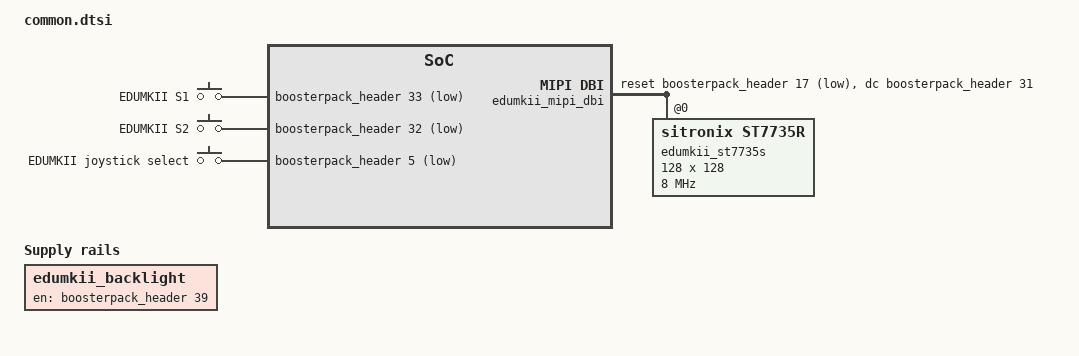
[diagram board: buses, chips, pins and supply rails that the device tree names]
/*
 * BOOSTXL-EDUMKII: 128 x 128 ST7735S screen on SPI (pins 7, 15, 13, 31, 17),
 * backlight on pin 39 (jumper J5 on 2-3), buttons S1 (pin 33), S2 (pin 32)
 * and the joystick press (pin 5). Pin numbers: SLAU599B Tables 2-1 to 2-10.
 * The joystick axes, microphone and accelerometer are analog; the per-board
 * overlays in boards/ add the joystick on that LaunchPad kit's ADC.
 *
 * SPDX-License-Identifier: Apache-2.0
 */

#include <zephyr/dt-bindings/mipi_dbi/mipi_dbi.h>
#include <zephyr/dt-bindings/gpio/gpio.h>
#include <zephyr/dt-bindings/input/input-event-codes.h>

/ {
	chosen {
		zephyr,display = &edumkii_st7735s;
	};

	edumkii_mipi_dbi {
		compatible = "zephyr,mipi-dbi-spi";
		spi-dev = <&boosterpack_spi>;
		dc-gpios = <&boosterpack_header 31 GPIO_ACTIVE_HIGH>;
		reset-gpios = <&boosterpack_header 17 GPIO_ACTIVE_LOW>;
		write-only;
		#address-cells = <1>;
		#size-cells = <0>;

		edumkii_st7735s: st7735s@0 {
			compatible = "sitronix,st7735r";
			reg = <0>;
			mipi-max-frequency = <8000000>;
			mipi-mode = "MIPI_DBI_MODE_SPI_4WIRE";
			width = <128>;
			height = <128>;
			x-offset = <2>;
			y-offset = <3>;
			madctl = <0xc8>;
			colmod = <0x55>;
			vmctr1 = <0x0e>;
			pwctr1 = [a2 02 84];
			pwctr2 = [c5];
			pwctr3 = [0a 00];
			frmctr1 = [01 2c 2d];
			frmctr2 = [01 2c 2d];
			frmctr3 = [01 2c 2d 01 2c 2d];
			gamctrp1 = [02 1c 07 12 37 32 29 2d 29 25 2b 39 00 01 03 10];
			gamctrn1 = [03 1d 07 06 2e 2c 29 2d 2e 2e 37 3f 00 00 02 10];
		};
	};

	edumkii_backlight: backlight {
		compatible = "regulator-fixed";
		regulator-name = "edumkii_backlight";
		enable-gpios = <&boosterpack_header 39 GPIO_ACTIVE_HIGH>;
		regulator-boot-on;
	};

	edumkii_buttons: edumkii_buttons {
		compatible = "gpio-keys";

		edumkii_s1: button_s1 {
			label = "EDUMKII S1";
			gpios = <&boosterpack_header 33 (GPIO_ACTIVE_LOW | GPIO_PULL_UP)>;
			zephyr,code = <INPUT_KEY_0>;
		};

		edumkii_s2: button_s2 {
			label = "EDUMKII S2";
			gpios = <&boosterpack_header 32 (GPIO_ACTIVE_LOW | GPIO_PULL_UP)>;
			zephyr,code = <INPUT_KEY_1>;
		};

		edumkii_joy_select: joystick_select {
			label = "EDUMKII joystick select";
			gpios = <&boosterpack_header 5 (GPIO_ACTIVE_LOW | GPIO_PULL_UP)>;
			zephyr,code = <INPUT_KEY_ENTER>;
		};
	};
};

&boosterpack_spi {
	cs-gpios = <&boosterpack_header 13 GPIO_ACTIVE_LOW>;
};
